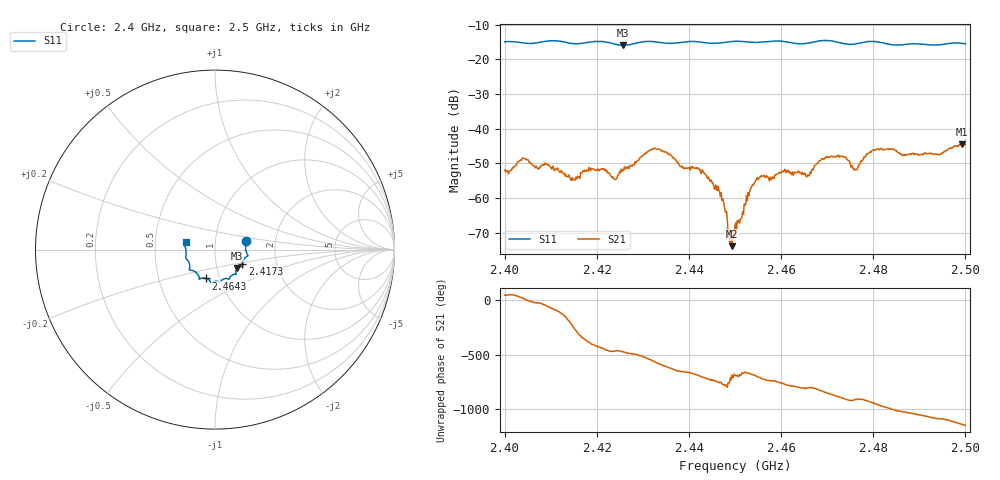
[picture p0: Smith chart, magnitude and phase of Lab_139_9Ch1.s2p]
# Hz S RI R 50
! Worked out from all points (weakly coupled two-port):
!   601 points, 2.4 GHz to 2.5 GHz, reference 50 ohm
!   highest |S21| = -44.52 dB at 2.4993 GHz (marker M1); lowest = -73.9 dB at 2.4493 GHz (marker M2)
!   lowest |S11| = -15.9 dB at 2.4257 GHz (marker M3), VSWR 1.38, Z = 62.5 - j13.1 ohm
!   |S11| at or under -10 dB: start of sweep to end of sweep
!   S12 and S22 are empty: the file has one direction only
!   S11 on the Smith chart (normalised r, x): 2.4 GHz: 1.41, +0.14; 2.4173 GHz: 1.34, -0.23; 2.4643 GHz: 0.86, -0.28; 2.5 GHz: 0.72, +0.06
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2.4e9  0.1736 0.0494  0.00172 0.00187  0 0  0 0
2.404333e9  0.1711 0.0213  0.00368 0.000598  0 0  0 0
2.414833e9  0.1606 -0.0538  -0.000814 0.00162  0 0  0 0
2.416667e9  0.1532 -0.0746  0.00214 0.000794  0 0  0 0
2.417333e9  0.1524 -0.0821  0.00252 2.58e-05  0 0  0 0
2.423833e9  0.1384 -0.0944  -0.000594 -0.00177  0 0  0 0
2.425667e9  0.123 -0.1024  -0.000968 -0.00238  0 0  0 0
2.433333e9  0.1128 -0.1366  -0.00378 0.00335  0 0  0 0
2.444667e9  0.0583 -0.1613  0.00169 -0.000374  0 0  0 0
2.446833e9  0.0417 -0.1682  0.000879 -0.000579  0 0  0 0
2.449333e9  0.0312 -0.1792  0.000168 0.000111  0 0  0 0
2.45e9  0.0293 -0.1807  0.000349 0.000196  0 0  0 0
2.455e9  0.00189 -0.1766  0.00179 0.000448  0 0  0 0
2.464333e9  -0.0499 -0.1606  0.000253 -0.00231  0 0  0 0
2.466667e9  -0.076 -0.1596  0.000345 -0.00252  0 0  0 0
2.472e9  -0.088 -0.1564  -0.00369 -0.00147  0 0  0 0
2.476167e9  -0.1181 -0.119  -0.00253 0.000364  0 0  0 0
2.479667e9  -0.1428 -0.1141  -0.00382 0.00291  0 0  0 0
2.483333e9  -0.1404 -0.0897  -7.06e-05 0.00515  0 0  0 0
2.494167e9  -0.1622 0.000142  0.00423 -0.000411  0 0  0 0
2.499333e9  -0.1664 0.0382  0.00311 -0.00507  0 0  0 0
2.5e9  -0.1631 0.042  0.0022 -0.00543  0 0  0 0
